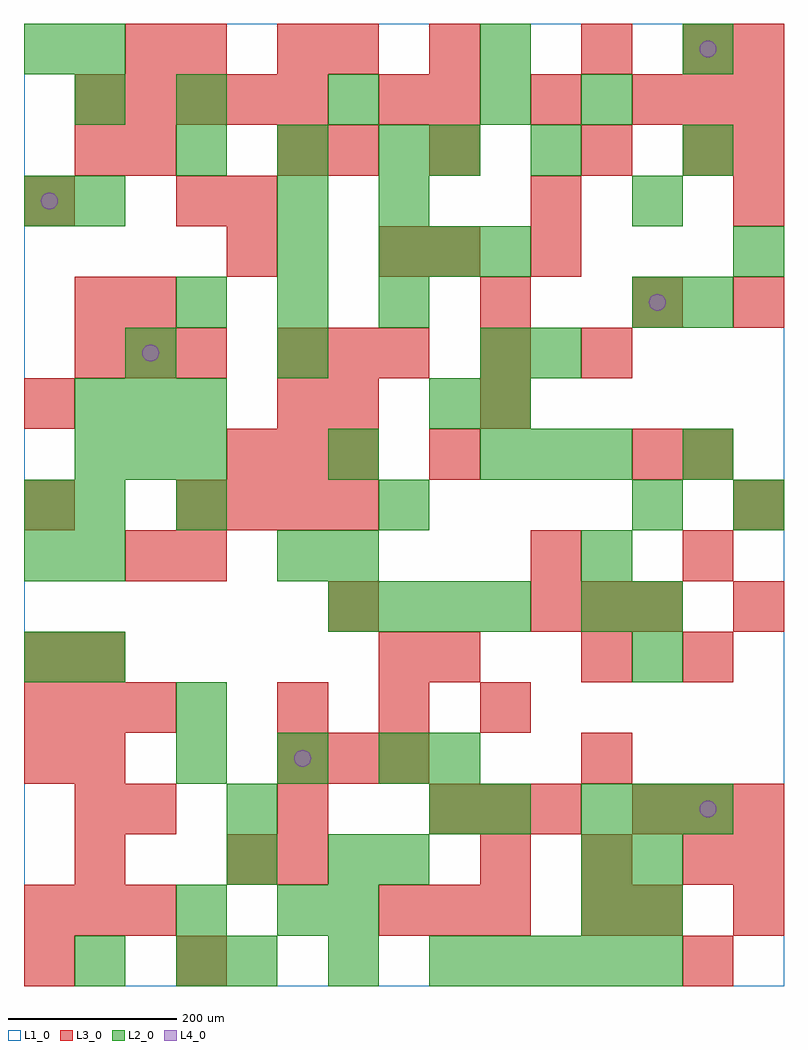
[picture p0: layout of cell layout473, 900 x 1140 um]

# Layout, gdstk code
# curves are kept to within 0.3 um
import gdstk
lib = gdstk.Library(unit=1e-6, precision=1e-09)
def R(c, l, rs):  # rectangles x0, y0, x1, y1
    for r in rs: c.add(gdstk.rectangle(r[:2], r[2:], *l))
def A(c, l, x, y, w, h, nx, ny, dx, dy):  # array of equal rectangles
    R(c, l, [(x+i*dx, y+j*dy, x+i*dx+w, y+j*dy+h) for i in range(nx) for j in range(ny)])
def P(c, l, *ps):  # polygons
    for p in ps: c.add(gdstk.Polygon(p, *l))
L1_0 = (1, 0)
L2_0 = (2, 0)
L3_0 = (3, 0)
L4_0 = (4, 0)

layout473 = lib.new_cell('layout473')
R(layout473, L1_0, [(0,0,900,1140)])
A(layout473, L2_0, 240, 0, 60, 60, 3, 1, 120, 0)
A(layout473, L2_0, 540, 0, 60, 60, 4, 1, 60, 0)
A(layout473, L2_0, 180, 60, 60, 60, 1, 3, 0, 240)
A(layout473, L2_0, 660, 180, 60, 60, 3, 1, 60, 0)
A(layout473, L2_0, 180, 240, 60, 60, 3, 2, 120, 540)
A(layout473, L2_0, 360, 420, 60, 60, 4, 1, 60, 0)
A(layout473, L2_0, 60, 600, 60, 60, 3, 2, 60, 60)
A(layout473, L2_0, 540, 600, 60, 60, 3, 1, 60, 0)
A(layout473, L2_0, 780, 600, 60, 60, 1, 3, 0, 180)
A(layout473, L2_0, 420, 840, 60, 60, 3, 1, 60, 0)
A(layout473, L2_0, 180, 960, 60, 60, 3, 1, 120, 0)
A(layout473, L2_0, 180, 1020, 60, 60, 3, 1, 180, 0)
R(layout473, L2_0, [(60,0,120,60), (180,0,240,60), (300,60,360,120), (360,60,420,120), (660,60,720,120), (720,60,780,120), (240,120,300,180), (360,120,420,180), (420,120,480,180), (660,120,720,180), (720,120,780,180), (240,180,300,240), (480,180,540,240), (540,180,600,240), (480,240,540,300), (0,360,60,420), (60,360,120,420), (720,360,780,420), (660,420,720,480), (720,420,780,480), (0,480,60,540), (60,480,120,540), (300,480,360,540), (360,480,420,540), (660,480,720,540), (0,540,60,600), (60,540,120,600), (420,540,480,600), (720,540,780,600), (840,540,900,600), (360,600,420,660), (480,660,540,720), (540,660,600,720), (120,720,180,780), (300,720,360,780), (540,720,600,780), (600,720,660,780), (720,780,780,840), (300,840,360,900), (840,840,900,900), (0,900,60,960), (60,900,120,960), (300,900,360,960), (420,900,480,960), (720,900,780,960), (480,960,540,1020), (600,960,660,1020), (60,1020,120,1080), (660,1020,720,1080), (0,1080,60,1140), (60,1080,120,1140), (540,1080,600,1140), (780,1080,840,1140)])
A(layout473, L3_0, 0, 60, 60, 60, 3, 2, 60, 240)
A(layout473, L3_0, 420, 60, 60, 60, 3, 1, 60, 0)
A(layout473, L3_0, 60, 120, 60, 60, 1, 3, 0, 60)
A(layout473, L3_0, 540, 120, 60, 60, 3, 1, 120, 0)
A(layout473, L3_0, 120, 180, 60, 60, 3, 1, 180, 0)
A(layout473, L3_0, 720, 180, 60, 60, 3, 1, 60, 0)
A(layout473, L3_0, 300, 240, 60, 60, 3, 2, 60, 480)
A(layout473, L3_0, 300, 300, 60, 60, 3, 1, 120, 0)
A(layout473, L3_0, 480, 360, 60, 60, 1, 3, 0, 240)
A(layout473, L3_0, 780, 360, 60, 60, 1, 3, 0, 120)
A(layout473, L3_0, 600, 420, 60, 60, 3, 1, 60, 0)
A(layout473, L3_0, 180, 540, 60, 60, 4, 1, 60, 0)
A(layout473, L3_0, 240, 600, 60, 60, 3, 1, 60, 0)
A(layout473, L3_0, 540, 660, 60, 60, 1, 3, 0, 60)
A(layout473, L3_0, 60, 720, 60, 60, 3, 1, 60, 0)
A(layout473, L3_0, 840, 900, 60, 60, 1, 4, 0, 60)
A(layout473, L3_0, 780, 960, 60, 60, 1, 3, 0, 60)
A(layout473, L3_0, 60, 1020, 60, 60, 5, 1, 60, 0)
A(layout473, L3_0, 480, 1020, 60, 60, 3, 1, 120, 0)
R(layout473, L3_0, [(0,0,60,60), (180,0,240,60), (780,0,840,60), (660,60,720,120), (720,60,780,120), (840,60,900,120), (240,120,300,180), (300,120,360,180), (840,120,900,180), (540,180,600,240), (600,180,660,240), (0,240,60,300), (660,240,720,300), (0,360,60,420), (60,360,120,420), (420,360,480,420), (660,360,720,420), (360,420,420,480), (840,420,900,480), (120,480,180,540), (180,480,240,540), (600,480,660,540), (0,540,60,600), (840,540,900,600), (720,600,780,660), (0,660,60,720), (300,660,360,720), (360,660,420,720), (660,720,720,780), (60,780,120,840), (120,780,180,840), (720,780,780,840), (840,780,900,840), (240,840,300,900), (420,840,480,900), (600,840,660,900), (0,900,60,960), (180,900,240,960), (240,900,300,960), (600,900,660,960), (60,960,120,1020), (120,960,180,1020), (300,960,360,1020), (360,960,420,1020), (480,960,540,1020), (660,960,720,1020), (420,1020,480,1080), (120,1080,180,1140), (180,1080,240,1140), (300,1080,360,1140), (360,1080,420,1140), (480,1080,540,1140), (660,1080,720,1140)])
P(layout473, L4_0, [(40,930),(39.239,933.827),(37.071,937.071),(33.827,939.239),(30,940),(26.173,939.239),(22.929,937.071),(20.761,933.827),(20,930),(20.761,926.173),(22.929,922.929),(26.173,920.761),(30,920),(33.827,920.761),(37.071,922.929),(39.239,926.173)],
  [(160,750),(159.239,753.827),(157.071,757.071),(153.827,759.239),(150,760),(146.173,759.239),(142.929,757.071),(140.761,753.827),(140,750),(140.761,746.173),(142.929,742.929),(146.173,740.761),(150,740),(153.827,740.761),(157.071,742.929),(159.239,746.173)],
  [(340,270),(339.239,273.827),(337.071,277.071),(333.827,279.239),(330,280),(326.173,279.239),(322.929,277.071),(320.761,273.827),(320,270),(320.761,266.173),(322.929,262.929),(326.173,260.761),(330,260),(333.827,260.761),(337.071,262.929),(339.239,266.173)],
  [(760,810),(759.239,813.827),(757.071,817.071),(753.827,819.239),(750,820),(746.173,819.239),(742.929,817.071),(740.761,813.827),(740,810),(740.761,806.173),(742.929,802.929),(746.173,800.761),(750,800),(753.827,800.761),(757.071,802.929),(759.239,806.173)],
  [(820,210),(819.239,213.827),(817.071,217.071),(813.827,219.239),(810,220),(806.173,219.239),(802.929,217.071),(800.761,213.827),(800,210),(800.761,206.173),(802.929,202.929),(806.173,200.761),(810,200),(813.827,200.761),(817.071,202.929),(819.239,206.173)],
  [(820,1110),(819.239,1113.827),(817.071,1117.071),(813.827,1119.239),(810,1120),(806.173,1119.239),(802.929,1117.071),(800.761,1113.827),(800,1110),(800.761,1106.173),(802.929,1102.929),(806.173,1100.761),(810,1100),(813.827,1100.761),(817.071,1102.929),(819.239,1106.173)])

lib.write_gds('layout473.gds')
